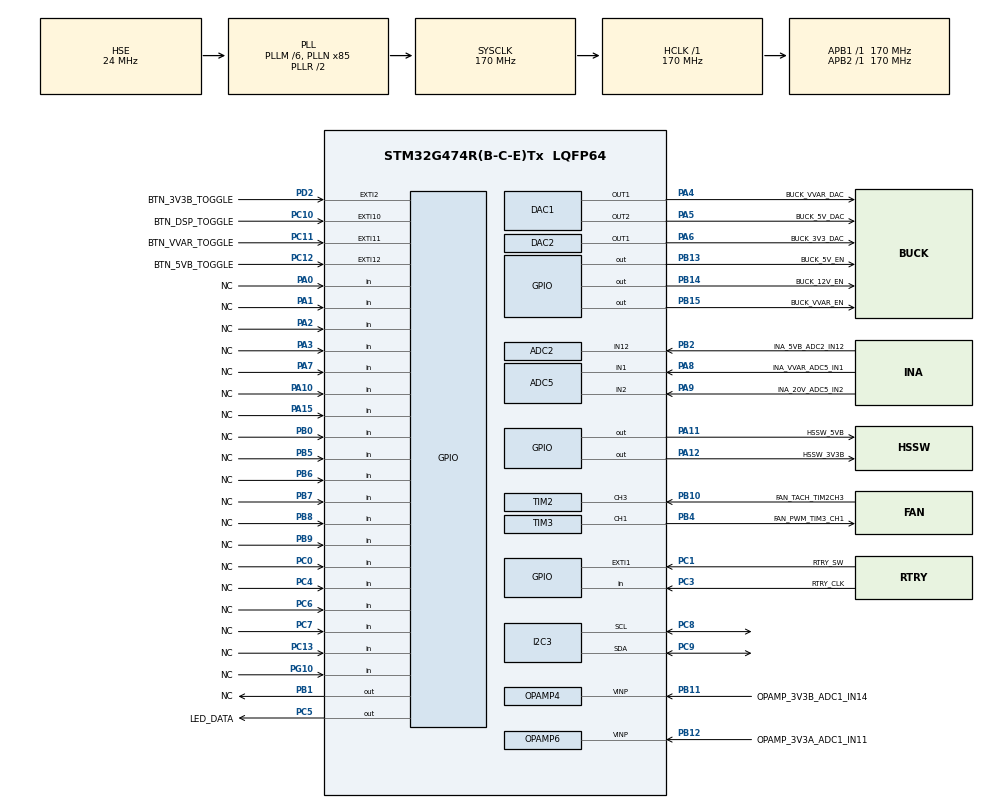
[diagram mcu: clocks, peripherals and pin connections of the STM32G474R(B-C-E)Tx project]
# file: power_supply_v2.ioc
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ADC1.Channel-0\#ChannelRegularConversion=ADC_CHANNEL_11
ADC1.NbrOfConversionFlag=1
ADC1.OffsetNumber-0\#ChannelRegularConversion=ADC_OFFSET_NONE
ADC1.OversamplingMode=ENABLE
ADC1.Rank-0\#ChannelRegularConversion=1
ADC1.Ratio=ADC_OVERSAMPLING_RATIO_16
ADC1.SamplingTime-0\#ChannelRegularConversion=ADC_SAMPLETIME_2CYCLES_5
ADC1.master=1
ADC2.Channel-1\#ChannelRegularConversion=ADC_CHANNEL_12
ADC2.NbrOfConversionFlag=1
ADC2.OffsetNumber-1\#ChannelRegularConversion=ADC_OFFSET_NONE
ADC2.OversamplingMode=ENABLE
ADC2.Rank-1\#ChannelRegularConversion=1
ADC2.Ratio=ADC_OVERSAMPLING_RATIO_16
ADC2.SamplingTime-1\#ChannelRegularConversion=ADC_SAMPLETIME_2CYCLES_5
ADC5.Channel-0\#ChannelRegularConversion=ADC_CHANNEL_1
ADC5.NbrOfConversionFlag=1
ADC5.OffsetNumber-0\#ChannelRegularConversion=ADC_OFFSET_NONE
ADC5.OversamplingMode=ENABLE
ADC5.Rank-0\#ChannelRegularConversion=1
ADC5.Ratio=ADC_OVERSAMPLING_RATIO_16
ADC5.SamplingTime-0\#ChannelRegularConversion=ADC_SAMPLETIME_2CYCLES_5
DAC1.DAC_Channel-DAC_OUT2=DAC_CHANNEL_2
DAC1.DAC_HighFrequency_OUT1-DAC_OUT1=DAC_HIGH_FREQUENCY_INTERFACE_MODE_AUTOMATIC
DAC1.DAC_SampleAndHold-DAC_OUT1=DAC_SAMPLEANDHOLD_DISABLE
DAC1.DAC_Trigger_OUT1-DAC_OUT1=DAC_TRIGGER_T6_TRGO
DAC1.DAC_Trigger_OUT2-DAC_OUT2=DAC_TRIGGER_T6_TRGO
DAC2.DAC_Trigger_OUT1-DAC_OUT1=DAC_TRIGGER_T6_TRGO
Dma.ADC1.2.Direction=DMA_PERIPH_TO_MEMORY
Dma.ADC1.2.EventEnable=DISABLE
Dma.ADC1.2.Instance=DMA1_Channel3
Dma.ADC1.2.MemDataAlignment=DMA_MDATAALIGN_HALFWORD
Dma.ADC1.2.MemInc=DMA_MINC_ENABLE
Dma.ADC1.2.Mode=DMA_CIRCULAR
Dma.ADC1.2.PeriphDataAlignment=DMA_PDATAALIGN_HALFWORD
Dma.ADC1.2.PeriphInc=DMA_PINC_DISABLE
Dma.ADC1.2.Polarity=HAL_DMAMUX_REQ_GEN_RISING
Dma.ADC1.2.Priority=DMA_PRIORITY_LOW
Dma.ADC1.2.RequestNumber=1
Dma.ADC1.2.SignalID=NONE
Dma.ADC1.2.SyncEnable=DISABLE
Dma.ADC1.2.SyncPolarity=HAL_DMAMUX_SYNC_NO_EVENT
Dma.ADC1.2.SyncRequestNumber=1
Dma.ADC1.2.SyncSignalID=NONE
Dma.ADC2.1.Direction=DMA_PERIPH_TO_MEMORY
Dma.ADC2.1.EventEnable=DISABLE
Dma.ADC2.1.Instance=DMA1_Channel2
Dma.ADC2.1.MemDataAlignment=DMA_MDATAALIGN_HALFWORD
Dma.ADC2.1.MemInc=DMA_MINC_ENABLE
Dma.ADC2.1.Mode=DMA_CIRCULAR
Dma.ADC2.1.PeriphDataAlignment=DMA_PDATAALIGN_HALFWORD
Dma.ADC2.1.PeriphInc=DMA_PINC_DISABLE
Dma.ADC2.1.Polarity=HAL_DMAMUX_REQ_GEN_RISING
Dma.ADC2.1.Priority=DMA_PRIORITY_LOW
Dma.ADC2.1.RequestNumber=1
Dma.ADC2.1.SignalID=NONE
Dma.ADC2.1.SyncEnable=DISABLE
Dma.ADC2.1.SyncPolarity=HAL_DMAMUX_SYNC_NO_EVENT
Dma.ADC2.1.SyncRequestNumber=1
Dma.ADC2.1.SyncSignalID=NONE
Dma.ADC5.0.Direction=DMA_PERIPH_TO_MEMORY
Dma.ADC5.0.EventEnable=DISABLE
Dma.ADC5.0.Instance=DMA1_Channel1
Dma.ADC5.0.MemDataAlignment=DMA_MDATAALIGN_HALFWORD
Dma.ADC5.0.MemInc=DMA_MINC_ENABLE
Dma.ADC5.0.Mode=DMA_CIRCULAR
Dma.ADC5.0.PeriphDataAlignment=DMA_PDATAALIGN_HALFWORD
Dma.ADC5.0.PeriphInc=DMA_PINC_DISABLE
Dma.ADC5.0.Polarity=HAL_DMAMUX_REQ_GEN_RISING
Dma.ADC5.0.Priority=DMA_PRIORITY_LOW
Dma.ADC5.0.RequestNumber=1
Dma.ADC5.0.SignalID=NONE
Dma.ADC5.0.SyncEnable=DISABLE
Dma.ADC5.0.SyncPolarity=HAL_DMAMUX_SYNC_NO_EVENT
Dma.ADC5.0.SyncRequestNumber=1
Dma.ADC5.0.SyncSignalID=NONE
Dma.Request0=ADC5
Dma.Request1=ADC2
Dma.Request2=ADC1
I2C3.Timing=0x40B285C2
Mcu.Family=STM32G4
Mcu.Name=STM32G474R(B-C-E)Tx
Mcu.Package=LQFP64
NUCLEO-G474RE.BUTTON=0
NUCLEO-G474RE.LD2=false
NUCLEO-G474RE.VCP=false
NVIC.ADC1_2_IRQn=true\:0\:0\:false\:false\:true\:true\:true\:true
NVIC.ADC5_IRQn=true\:0\:0\:false\:false\:true\:true\:true\:true
NVIC.DMA1_Channel1_IRQn=true\:0\:0\:false\:false\:true\:false\:true\:true
NVIC.DMA1_Channel2_IRQn=true\:0\:0\:false\:false\:true\:false\:true\:true
NVIC.DMA1_Channel3_IRQn=true\:0\:0\:false\:false\:true\:false\:true\:true
NVIC.EXTI15_10_IRQn=true\:0\:0\:false\:false\:true\:false\:true\:true
NVIC.EXTI1_IRQn=true\:0\:0\:false\:false\:true\:true\:true\:true
NVIC.EXTI2_IRQn=true\:0\:0\:false\:false\:true\:true\:true\:true
NVIC.PriorityGroup=NVIC_PRIORITYGROUP_4
PA0.GPIO_Label=NC
PA0.GPIO_PuPd=GPIO_PULLDOWN
PA0.Signal=GPIO_Input
PA1.GPIO_Label=NC
PA1.GPIO_PuPd=GPIO_PULLDOWN
PA1.Signal=GPIO_Input
PA10.GPIO_Label=NC
PA10.GPIO_PuPd=GPIO_PULLDOWN
PA10.Signal=GPIO_Input
PA11.GPIO_Label=HSSW_5VB
PA11.GPIO_PuPd=GPIO_PULLDOWN
PA11.Signal=GPIO_Output
PA12.GPIO_Label=HSSW_3V3B
PA12.GPIO_PuPd=GPIO_PULLDOWN
PA12.Signal=GPIO_Output
PA13.Mode=Serial_Wire
PA13.Signal=SYS_JTMS-SWDIO
PA14.Mode=Serial_Wire
PA14.Signal=SYS_JTCK-SWCLK
PA15.GPIO_Label=NC
PA15.GPIO_PuPd=GPIO_PULLDOWN
PA15.Signal=GPIO_Input
PA2.GPIO_Label=NC
PA2.GPIO_PuPd=GPIO_PULLDOWN
PA2.Signal=GPIO_Input
PA3.GPIO_Label=NC
PA3.GPIO_PuPd=GPIO_PULLDOWN
PA3.Signal=GPIO_Input
PA4.GPIO_Label=BUCK_VVAR_DAC
PA4.Signal=COMP_DAC11_group
PA5.GPIO_Label=BUCK_5V_DAC
PA5.Signal=COMP_DAC12_group
PA6.GPIO_Label=BUCK_3V3_DAC
PA6.Signal=COMP_DAC21_group
PA7.GPIO_Label=NC
PA7.GPIO_PuPd=GPIO_PULLDOWN
PA7.Signal=GPIO_Input
PA8.GPIO_Label=INA_VVAR_ADC5_IN1
PA8.Mode=IN1-Single-Ended
PA8.Signal=ADC5_IN1
PA9.GPIO_Label=INA_20V_ADC5_IN2
PA9.Mode=IN2-Single-Ended
PA9.Signal=ADC5_IN2
PB0.GPIO_Label=NC
PB0.GPIO_PuPd=GPIO_PULLDOWN
PB0.Signal=GPIO_Input
PB1.GPIO_Label=NC
PB1.GPIO_PuPd=GPIO_PULLDOWN
PB1.Signal=GPIO_Output
PB10.GPIO_Label=FAN_TACH_TIM2CH3
PB10.Signal=S_TIM2_CH3
PB11.GPIO_Label=OPAMP_3V3B_ADC1_IN14
PB11.Signal=SharedAnalog_PB11
PB12.GPIO_Label=OPAMP_3V3A_ADC1_IN11
PB12.Signal=SharedAnalog_PB12
PB13.GPIO_Label=BUCK_5V_EN
PB13.GPIO_PuPd=GPIO_PULLDOWN
PB13.Signal=GPIO_Output
PB14.GPIO_Label=BUCK_12V_EN
PB14.GPIO_PuPd=GPIO_PULLDOWN
PB14.Signal=GPIO_Output
PB15.GPIO_Label=BUCK_VVAR_EN
PB15.GPIO_PuPd=GPIO_PULLDOWN
PB15.Signal=GPIO_Output
PB2.GPIO_Label=INA_5VB_ADC2_IN12
PB2.Mode=IN12-Single-Ended
PB2.Signal=ADC2_IN12
PB3.GPIO_Label=T_SWO
PB3.Signal=SYS_JTDO-SWO
PB4.GPIO_Label=FAN_PWM_TIM3_CH1
PB4.Signal=S_TIM3_CH1
PB5.GPIO_Label=NC
PB5.GPIO_PuPd=GPIO_PULLDOWN
PB5.Signal=GPIO_Input
PB6.GPIO_Label=NC
PB6.GPIO_PuPd=GPIO_PULLDOWN
PB6.Signal=GPIO_Input
PB7.GPIO_Label=NC
PB7.GPIO_PuPd=GPIO_PULLDOWN
PB7.Signal=GPIO_Input
PB8-BOOT0.GPIO_Label=NC
PB8-BOOT0.GPIO_PuPd=GPIO_PULLDOWN
PB8-BOOT0.Signal=GPIO_Input
PB9.GPIO_Label=NC
PB9.GPIO_PuPd=GPIO_PULLDOWN
PB9.Signal=GPIO_Input
PC0.GPIO_Label=NC
PC0.GPIO_PuPd=GPIO_PULLDOWN
PC0.Signal=GPIO_Input
PC1.GPIO_Label=RTRY_SW
PC1.GPIO_PuPd=GPIO_PULLUP
PC1.Signal=GPXTI1
PC10.GPIO_Label=BTN_DSP_TOGGLE
PC10.GPIO_PuPd=GPIO_PULLUP
PC10.Signal=GPXTI10
PC11.GPIO_Label=BTN_VVAR_TOGGLE
PC11.GPIO_PuPd=GPIO_PULLUP
PC11.Signal=GPXTI11
PC12.GPIO_Label=BTN_5VB_TOGGLE
PC12.GPIO_PuPd=GPIO_PULLUP
PC12.Signal=GPXTI12
PC13.GPIO_Label=NC
PC13.GPIO_PuPd=GPIO_PULLDOWN
PC13.Signal=GPIO_Input
PC14-OSC32_IN.GPIO_Label=RCC_OSC32_IN
PC14-OSC32_IN.Signal=RCC_OSC32_IN
PC15-OSC32_OUT.GPIO_Label=RCC_OSC32_OUT
PC15-OSC32_OUT.Signal=RCC_OSC32_OUT
PC3.GPIO_Label=RTRY_CLK
PC3.GPIO_PuPd=GPIO_PULLUP
PC3.Signal=GPIO_Input
PC4.GPIO_Label=NC
PC4.GPIO_PuPd=GPIO_PULLDOWN
PC4.Signal=GPIO_Input
PC5.GPIO_Label=LED_DATA
PC5.Signal=GPIO_Output
PC6.GPIO_Label=NC
PC6.GPIO_PuPd=GPIO_PULLDOWN
PC6.Signal=GPIO_Input
PC7.GPIO_Label=NC
PC7.GPIO_PuPd=GPIO_PULLDOWN
PC7.Signal=GPIO_Input
PC8.Mode=I2C
PC8.Signal=I2C3_SCL
PC9.Mode=I2C
PC9.Signal=I2C3_SDA
PD2.GPIO_Label=BTN_3V3B_TOGGLE
PD2.GPIO_PuPd=GPIO_PULLUP
PD2.Signal=GPXTI2
PF0-OSC_IN.GPIO_Label=RCC_OSC_IN
PF0-OSC_IN.Mode=HSE-External-Oscillator
PF0-OSC_IN.Signal=RCC_OSC_IN
PF1-OSC_OUT.GPIO_Label=RCC_OSC_OUT
PF1-OSC_OUT.Mode=HSE-External-Oscillator
PF1-OSC_OUT.Signal=RCC_OSC_OUT
PG10-NRST.GPIO_Label=NC
PG10-NRST.GPIO_PuPd=GPIO_PULLDOWN
PG10-NRST.Signal=GPIO_Input
ProjectManager.HeapSize=0x200
ProjectManager.StackSize=0x400
ProjectManager.TargetToolchain=CMake
RCC.ADC12Freq_Value=170000000
RCC.ADC345Freq_Value=170000000
RCC.AHBFreq_Value=170000000
RCC.APB1Freq_Value=170000000
RCC.APB1TimFreq_Value=170000000
RCC.APB2Freq_Value=170000000
RCC.APB2TimFreq_Value=170000000
RCC.CortexFreq_Value=170000000
RCC.EXTERNAL_CLOCK_VALUE=12288000
RCC.EnbaleCSS=true
RCC.HCLKFreq_Value=170000000
RCC.HSE_VALUE=24000000
RCC.HSI48_VALUE=48000000
RCC.HSI_VALUE=16000000
RCC.LSE_VALUE=32768
RCC.PLLM=RCC_PLLM_DIV6
RCC.PLLN=85
RCC.PLLSourceVirtual=RCC_PLLSOURCE_HSE
RCC.RTCClockSelection=RCC_RTCCLKSOURCE_LSE
RCC.SYSCLKFreq_VALUE=170000000
RCC.SYSCLKSource=RCC_SYSCLKSOURCE_PLLCLK
RCC.USBFreq_Value=170000000
RCC.VCOOutputFreq_Value=340000000
SH.COMP_DAC11_group.0=DAC1_OUT1,DAC_OUT1
SH.COMP_DAC12_group.0=DAC1_OUT2,DAC_OUT2
SH.COMP_DAC21_group.0=DAC2_OUT1,DAC_OUT1
SH.S_TIM2_CH3.0=TIM2_CH3,Input_Capture3_from_TI3
SH.S_TIM3_CH1.0=TIM3_CH1,PWM Generation1 CH1
SH.SharedAnalog_PB11.0=OPAMP4_VINP,Follower_Internally_Connected
SH.SharedAnalog_PB11.1=ADC1_IN14,IN14-Single-Ended
SH.SharedAnalog_PB12.0=OPAMP6_VINP,Follower_Internally_Connected
SH.SharedAnalog_PB12.1=ADC1_IN11,IN11-Single-Ended
TIM2.Channel-Input_Capture3_from_TI3=TIM_CHANNEL_3
TIM2.ICFilter_CH3=8
TIM3.Channel-PWM\ Generation1\ CH1=TIM_CHANNEL_1
TIM3.PeriodNoDither=6799
TIM3.Prescaler=0
TIM6.PeriodNoDither=999
TIM6.Prescaler=169
TIM6.TIM_MasterOutputTrigger=TIM_TRGO_UPDATE
VP_NUCLEO-G474RE_VS_BSP_COMMON.Mode=COMMON
VP_SYS_VS_DBSignals.Mode=DisableDeadBatterySignals
VP_TIM2_VS_ClockSourceINT.Mode=Internal
VP_TIM3_VS_ClockSourceINT.Mode=Internal
VP_TIM6_VS_ClockSourceINT.Mode=Enable_Timer
board=NUCLEO-G474RE

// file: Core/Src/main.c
/* USER CODE BEGIN Header */
/**
 ******************************************************************************
 * @file           : main.c
 * @brief          : Main program body
 ******************************************************************************
 * @attention
 *
 * Copyright (c) 2026 STMicroelectronics.
 * All rights reserved.
 *
 * This software is licensed under terms that can be found in the LICENSE file
 * in the root directory of this software component.
 * If no LICENSE file comes with this software, it is provided AS-IS.
 *
 ******************************************************************************
 */
/* USER CODE END Header */
#include "main.h"
#include "adc.h"
#include "dac.h"
#include "dma.h"
#include "i2c.h"
#include "opamp.h"
#include "tim.h"
#include "gpio.h"

/* USER CODE BEGIN Includes */
#include <stdint.h>
#include <stdio.h>

#include "SEGGER_RTT.h"
#include "app.h"
#include "tests.h"
/* USER CODE END Includes */

/* USER CODE BEGIN PV */
static App_t app;
/* USER CODE END PV */

void SystemClock_Config(void);

/* USER CODE BEGIN 0 */
int _write(int file, char *ptr, int len)
{
    SEGGER_RTT_Write(0, ptr, len);
    return len;
}
/* USER CODE END 0 */

int main(void)
{

  /* MCU Configuration--------------------------------------------------------*/

  /* Reset of all peripherals, Initializes the Flash interface and the Systick. */
  HAL_Init();

  /* Configure the system clock */
  SystemClock_Config();

  /* Initialize all configured peripherals */
  MX_GPIO_Init();
  MX_DMA_Init();
  MX_ADC2_Init();
  MX_ADC5_Init();
  MX_DAC1_Init();
  MX_DAC2_Init();
  MX_TIM2_Init();
  MX_TIM3_Init();
  MX_TIM6_Init();
  MX_ADC1_Init();
  MX_I2C3_Init();
  MX_OPAMP4_Init();
  MX_OPAMP6_Init();
  /* USER CODE BEGIN 2 */
    app.state = APP_STATE_INIT;
    App_Init(&app, &hi2c3);

    Test_Power(&app);
  /* USER CODE END 2 */

  /* Infinite loop */
    while (1) {

    }
}

void SystemClock_Config(void)
{
  RCC_OscInitTypeDef RCC_OscInitStruct = {0};
  RCC_ClkInitTypeDef RCC_ClkInitStruct = {0};

  /** Configure the main internal regulator output voltage
  */
  HAL_PWREx_ControlVoltageScaling(PWR_REGULATOR_VOLTAGE_SCALE1_BOOST);

  /** Initializes the RCC Oscillators according to the specified parameters
  * in the RCC_OscInitTypeDef structure.
  */
  RCC_OscInitStruct.OscillatorType = RCC_OSCILLATORTYPE_HSE;
  RCC_OscInitStruct.HSEState = RCC_HSE_ON;
  RCC_OscInitStruct.PLL.PLLState = RCC_PLL_ON;
  RCC_OscInitStruct.PLL.PLLSource = RCC_PLLSOURCE_HSE;
  RCC_OscInitStruct.PLL.PLLM = RCC_PLLM_DIV6;
  RCC_OscInitStruct.PLL.PLLN = 85;
  RCC_OscInitStruct.PLL.PLLP = RCC_PLLP_DIV2;
  RCC_OscInitStruct.PLL.PLLQ = RCC_PLLQ_DIV2;
  RCC_OscInitStruct.PLL.PLLR = RCC_PLLR_DIV2;
  if (HAL_RCC_OscConfig(&RCC_OscInitStruct) != HAL_OK)
  {
    Error_Handler();
  }

  /** Initializes the CPU, AHB and APB buses clocks
  */
  RCC_ClkInitStruct.ClockType = RCC_CLOCKTYPE_HCLK|RCC_CLOCKTYPE_SYSCLK
                              |RCC_CLOCKTYPE_PCLK1|RCC_CLOCKTYPE_PCLK2;
  RCC_ClkInitStruct.SYSCLKSource = RCC_SYSCLKSOURCE_PLLCLK;
  RCC_ClkInitStruct.AHBCLKDivider = RCC_SYSCLK_DIV1;
  RCC_ClkInitStruct.APB1CLKDivider = RCC_HCLK_DIV1;
  RCC_ClkInitStruct.APB2CLKDivider = RCC_HCLK_DIV1;

  if (HAL_RCC_ClockConfig(&RCC_ClkInitStruct, FLASH_LATENCY_4) != HAL_OK)
  {
    Error_Handler();
  }

  /** Enables the Clock Security System
  */
  HAL_RCC_EnableCSS();
}

/* USER CODE BEGIN 4 */
void HAL_TIM_IC_CaptureCallback(TIM_HandleTypeDef *htim)
{
    // TODO: issue #28: set flag and handle logic outside of interrupt
    Temp_Ctrl_t *ctrl = &app.temperature_controller;
    if (htim->Instance == TIM5 && htim->Channel == HAL_TIM_ACTIVE_CHANNEL_2) {
        ctrl->fan.value_cur = HAL_TIM_ReadCapturedValue(htim, TIM_CHANNEL_2);
        ctrl->fan.last_tick = HAL_GetTick();

        if (!ctrl->fan.first_cb) {
            if (ctrl->fan.value_cur >= ctrl->fan.value_last) {
                ctrl->fan.value_diff = ctrl->fan.value_cur - ctrl->fan.value_last;
            } else {
                ctrl->fan.value_diff =
                    (0xFFFFFFFF - ctrl->fan.value_last) + ctrl->fan.value_cur + 1;
            }

            if (ctrl->fan.value_diff > 0) {
                ctrl->fan.rpm = 30000000.0f / (float)ctrl->fan.value_diff;
            }
        }

        ctrl->fan.value_last = ctrl->fan.value_cur;
        ctrl->fan.first_cb = 0;
    }
}

void HAL_TIM_PWM_PulseFinishedCallback(TIM_HandleTypeDef *htim)
{
    if (htim->Instance == TIM2)
        HAL_TIM_PWM_Stop_DMA(htim, TIM_CHANNEL_2);
}

void HAL_GPIO_EXTI_Callback(uint16_t GPIO_Pin)
{
    // static uint32_t last_press_rotary = 0;
    static uint32_t last_press_3v3 = 0;
    static uint32_t last_press_5v = 0;
    static uint32_t last_press_var = 0;
    static uint32_t last_press_menu = 0;
    uint32_t now = HAL_GetTick();

    switch (GPIO_Pin) {

    case BTN_VVAR_TOGGLE_Pin:
    {
        // TODO: issue #30: adjust debounce time to get buttons to stable toggle
        if (now - last_press_var < 75) {
            return;
        }
        last_press_var = now;
        app.power_controller.channels[PWR_CHAN_VVAR].toggle_pending = true;
        printf("GPIO_BTN_VVAR\r\n\n");
        break;
    }

    case BTN_5VB_TOGGLE_Pin:
    {
        if (now - last_press_5v < 75) {
            return;
        }
        last_press_5v = now;
        app.power_controller.channels[PWR_CHAN_5V].toggle_pending = true;
        printf("GPIO_BTN_5V\r\n\n");
        break;
    }

    case BTN_3V3B_TOGGLE_Pin:
    {
        if (now - last_press_3v3 < 75) {
            return;
        }
        last_press_3v3 = now;
        app.power_controller.channels[PWR_CHAN_3V3].toggle_pending = true;
        printf("GPIO_BTN_3V3\r\n\n");
        break;
    }

    case BTN_DSP_TOGGLE_Pin:
    {
        if (now - last_press_menu < 75) {
            return;
        }
        last_press_menu = now;
        printf("GPIO_BTN_DSP\r\n\n");
        break;
    }

        // case RTRY_SW_Pin:
        //     if (now - last_press_rotary < 50)
        //         return;
        //     last_press_rotary = now;
        //     app.power_controller->chan_var->rotary.pressed = true;
        //     break;

        // case BTN_DSP_MENU_Pin:
        // {
        // TODO: update display to show menu
        // rotary now becomes control
        // }
    }
}
/* USER CODE END 4 */

void Error_Handler(void)
{
    __disable_irq();
    while (1) { }
}
#ifdef USE_FULL_ASSERT
/**
  * @brief  Reports the name of the source file and the source line number
  *         where the assert_param error has occurred.
  * @param  file: pointer to the source file name
  * @param  line: assert_param error line source number
  * @retval None
  */
void assert_failed(uint8_t *file, uint32_t line)
{
  /* USER CODE BEGIN 6 */
    /* User can add his own implementation to report the file name and line
       number, ex: printf("Wrong parameters value: file %s on line %d\r\n", file,
       line) */
  /* USER CODE END 6 */
}
#endif /* USE_FULL_ASSERT */
